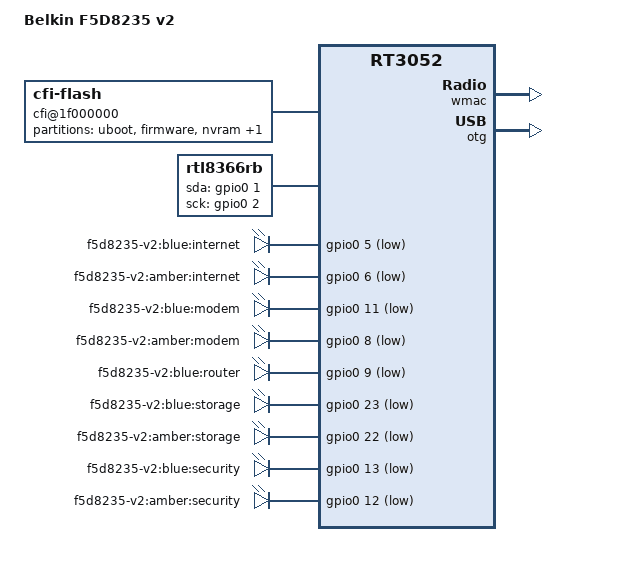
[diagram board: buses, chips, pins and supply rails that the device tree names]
/dts-v1/;

#include "rt3050.dtsi"

/ {
	compatible = "F5D8235_V2", "ralink,rt3052-soc";
	model = "Belkin F5D8235 v2";

	cfi@1f000000 {
		compatible = "cfi-flash";
		reg = <0x1f000000 0x800000>;
		bank-width = <2>;
		device-width = <2>;
		#address-cells = <1>;
		#size-cells = <1>;

		uboot: partition@0 {
			label = "uboot";
			reg = <0x0 0x50000>;
			read-only;
		};

		partition@50000 {
			label = "firmware";
			reg = <0x50000 0x790000>;
		};

		partition@7e0000 {
			label = "nvram";
			reg = <0x7e0000 0x10000>;
		};

		factory: partition@7f0000 {
			label = "factory";
			reg = <0x7f0000 0x10000>;
		};
	};

	rtl8366rb {
		compatible = "rtl8366rb";
		gpio-sda = <&gpio0 1 0>;
		gpio-sck = <&gpio0 2 0>;
	};

	gpio-leds {
		compatible = "gpio-leds";

		internet {
			label = "f5d8235-v2:blue:internet";
			gpios = <&gpio0 5 1>;
		};

		internet2 {
			label = "f5d8235-v2:amber:internet";
			gpios = <&gpio0 6 1>;
		};

		modem {
			label = "f5d8235-v2:blue:modem";
			gpios = <&gpio0 11 1>;
		};

		modem2 {
			label = "f5d8235-v2:amber:modem";
			gpios = <&gpio0 8 1>;
		};

		router {
			label = "f5d8235-v2:blue:router";
			gpios = <&gpio0 9 1>;
		};

		storage {
			label = "f5d8235-v2:blue:storage";
			gpios = <&gpio0 23 1>;
		};

		storage2 {
			label = "f5d8235-v2:amber:storage";
			gpios = <&gpio0 22 1>;
		};

		security {
			label = "f5d8235-v2:blue:security";
			gpios = <&gpio0 13 1>;
		};

		security2 {
			label = "f5d8235-v2:amber:security";
			gpios = <&gpio0 12 1>;
		};
	};
};

&pinctrl {
	state_default: pinctrl0 {
		gpio {
			ralink,group = "spi", "i2c", "jtag", "rgmii", "mdio", "uartf";
			ralink,function = "gpio";
		};
	};
};

&ethernet {
	mtd-mac-address = <&uboot 0x40004>;
};

&esw {
	mediatek,portmap = <0x3f>;
};

&wmac {
	ralink,mtd-eeprom = <&uboot 0x40000>;
};

&otg {
	status = "okay";
};
